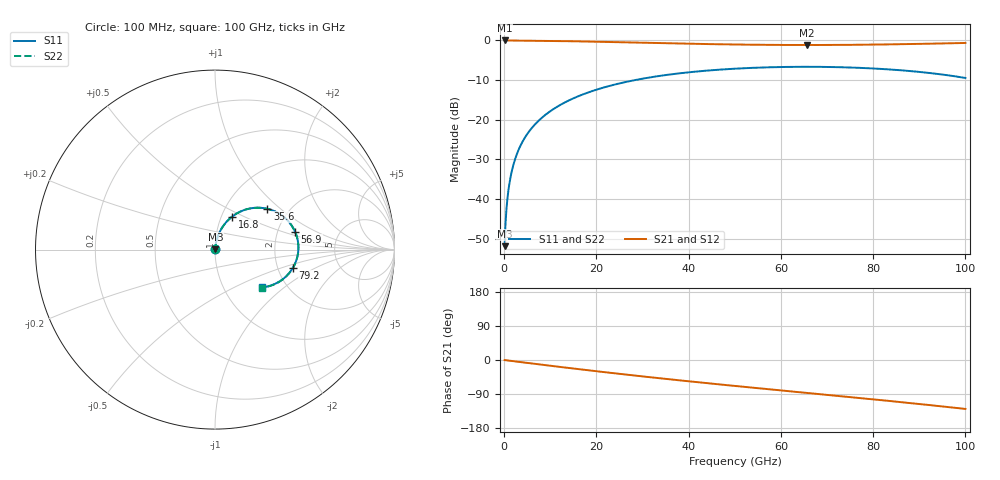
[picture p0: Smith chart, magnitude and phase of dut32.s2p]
! Touchstone file exported from HFSS 2026.1.0
!  File:  C:/ffzhzh/LocalFiles/Ansys_Project_Files/temp_train_RDL_32_1783498004_9504.aedt
!  Generated:  04:07:46 PM Jul  8, 2026
!  Design:  RDL
!  Project:  temp_train_RDL_32_1783498004_9504
! Variables:
!  h_bsmrdl = 2um
!  h_ox = 20um
!  h_rdl = 5um
!  h_sub = 80um
!  h_tmrdl = 3.4um
!  h_tsv = 80um
!  h_via = 3um
!  l_bsmrdl = 300um
!  l_sub = 835.2um
!  l_tmrdl = 435.2um
!  m_sub = 200um
!  pitch = 45.39um
!  r_tsv = 6um
!  s_tmrdl = 10um
!  w_bsmrdl = 18um
!  w_sub = 500um
!  w_tmrdl = 25.02um
!  x_tsv_center1 = 447.71um
!  x_tsv_center2 = 765.71um
!  x_tsv_center3 = 1225.93um
!  x_tsv_center4 = 1543.93um
!  x_tsv_center5 = 2004.15um
!  x_tsv_center6 = 2322.15um
# GHz S MA R 50.000000
! Terminal data exported
! Port[1] = TM_RDL1_1_T1
! Port[2] = TM_RDL1_1_T2
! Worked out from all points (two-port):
!   1000 points, 100 MHz to 100 GHz, reference 50 ohm
!   highest |S21| = -0.02 dB at 100 MHz (marker M1); lowest = -1.2 dB at 65.7 GHz (marker M2)
!   |S21| within 3 dB of the highest: start of sweep to end of sweep
!   lowest |S11| = -51.8 dB at 100 MHz (marker M3), VSWR 1.01, Z = 50.2 + j0.154 ohm
!   |S11| at or under -10 dB: start of sweep to 28.36 GHz
!   |S22| runs from -51.8 to -6.6 dB; largest |S21 - S12| = 1.6e-14
!   S11 on the Smith chart (normalised r, x): 100 MHz: 1.00, +0.00; 16.8 GHz: 1.12, +0.43; 35.6 GHz: 1.56, +0.82; 56.9 GHz: 2.50, +0.62; 79.2 GHz: 2.42, -0.62; 100 GHz: 1.51, -0.71
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0.1  0.002561 36.9  0.998 -0.2  0.998 -0.2  0.002561 36.9
! Gamma 0 0 0 0
! Port Impedance 50 0 50 0
0.9  0.0126 76.2  0.9972 -1.4  0.9972 -1.4  0.0126 76.2
1.2  0.01651 78.4  0.9971 -1.9  0.9971 -1.9  0.01651 78.4
1.5  0.02044 79.7  0.9969 -2.3  0.9969 -2.3  0.02044 79.7
2  0.02702 80.6  0.9967 -3.1  0.9967 -3.1  0.02702 80.6
2.6  0.03493 80.8  0.9962 -4.0  0.9962 -4.0  0.03493 80.8
4.1  0.05453 79.8  0.9948 -6.3  0.9948 -6.3  0.05453 79.8
6.2  0.08143 77.3  0.9921 -9.5  0.9921 -9.5  0.08143 77.3
9  0.1162 73.5  0.9875 -13.7  0.9875 -13.7  0.1162 73.5
12.5  0.1578 68.6  0.9805 -18.8  0.9805 -18.8  0.1578 68.7
16.8  0.2059 62.7  0.9706 -25.1  0.9706 -25.1  0.2059 62.7
24.2  0.2799 52.7  0.9508 -35.4  0.9508 -35.4  0.2799 52.7
33.4  0.3548 40.7  0.9249 -47.7  0.9249 -47.7  0.3549 40.7
35.6  0.3698 37.9  0.919 -50.6  0.919 -50.6  0.3698 37.9
50.1  0.4403 20.3  0.8873 -68.5  0.8873 -68.5  0.4404 20.3
56.9  0.4574 12.4  0.8787 -76.6  0.8787 -76.6  0.4574 12.4
65.7  0.465 2.3  0.8746 -86.9  0.8746 -86.9  0.4651 2.2
66.7  0.4649 1.1  0.8746 -88.1  0.8746 -88.1  0.4649 1.1
79.2  0.4453 -13.3  0.8839 -102.9  0.8839 -102.9  0.4454 -13.4
83.4  0.4312 -18.3  0.8904 -107.9  0.8904 -107.9  0.4313 -18.4
91.8  0.391 -28.5  0.9076 -118.4  0.9076 -118.4  0.3911 -28.7
100  0.3363 -38.7  0.9278 -129.1  0.9278 -129.1  0.3364 -39.1
